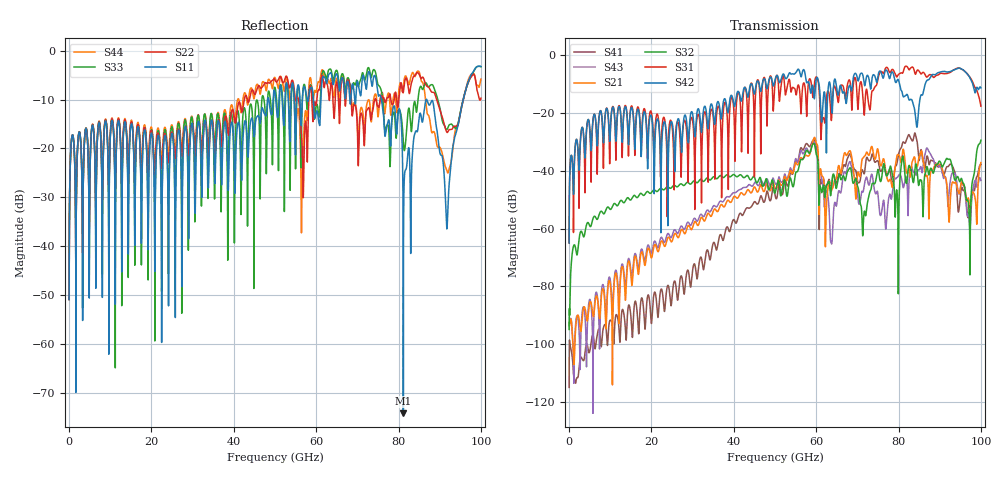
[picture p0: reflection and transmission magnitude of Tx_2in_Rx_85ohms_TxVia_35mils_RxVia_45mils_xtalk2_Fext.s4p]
! Info: Touchstone file created by Circ.  Input file=Tx_2in_Rx_85ohms_TxVia_35mils_RxVia_45mils.circ
# Hz S RI R 50
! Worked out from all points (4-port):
!   10000 points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, 10 MHz to 100 GHz, reference 50 ohm
!   strongest paths, dB at 10 MHz, 25.01 GHz, 50.01 GHz, 75.01 GHz, 100 GHz:
!     S42: -65.0, -23.3, -8.5, -7.1, -11.3
!     S31: -65.0, -24.5, -9.7, -8.2, -17.6
!     S32: -95.0, -45.6, -47.6, -39.5, -29.4
!     S21: -92.5, -64.4, -45.9, -32.6, -37.2
!     S43: -92.5, -62.6, -44.3, -48.1, -43.3
!     S41: -115.0, -83.7, -48.4, -36.5, -37.9
!   lowest |S11| = -74.1 dB at 81.17 GHz (marker M1), VSWR 1.00, Z = 50 + j0.00455 ohm
!   |S11| at or under -10 dB: start of sweep to 48.21 GHz; 75.84 GHz to 86.7 GHz (10.86 GHz wide, 13.4 % of centre); 86.86 GHz to 95.71 GHz (8.853 GHz wide, 9.7 % of centre)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
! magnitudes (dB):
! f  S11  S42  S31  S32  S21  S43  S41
! 10 MHz  -50.9  -65.0  -65.0  -95.0  -92.5  -92.5  -115.0
! 9.11 GHz  -15.4  -18.4  -18.3  -53.0  -89.0  -88.8  -96.7
! 59.26 GHz  -9.1  -11.2  -14.5  -30.6  -29.5  -30.0  -29.4
! 63.68 GHz  -4.7  -15.3  -22.6  -46.1  -47.1  -65.1  -46.1
! 81.17 GHz  -74.1  -14.4  -5.6  -35.5  -32.5  -45.9  -30.0
! 97.1 GHz  -6.1  -7.2  -7.2  -53.2  -50.3  -56.1  -54.4
! 100 GHz  -3.3  -11.3  -17.6  -29.4  -37.2  -43.3  -37.9
